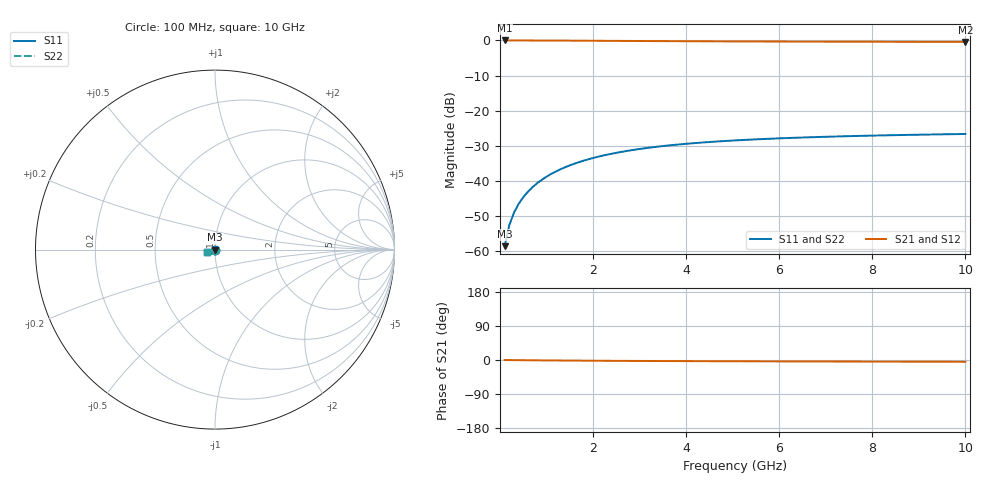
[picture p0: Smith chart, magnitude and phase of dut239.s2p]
! Touchstone file exported from HFSS 2024.1.0
!  File:  C:/UserFiles/LocalFiles/RDL_TSV_Batchsim/temp_TSV1_239_1779389405.aedt
!  Generated:  02:55:30 AM May 22, 2026
!  Design:  TSV1
!  Project:  temp_TSV1_239_1779389405
!  Setup:  Setup1
!  Solution:  Sweep
! Variables:
!  dtsv = 9.84um
!  hbump = 3um
!  htsv = 74.32um
!  lrdl = 252.1521522um
!  p = 40
!  p1 = 40.26um
!  t = 500um
!  trdl = 3um
!  wrdl = 24.89489489um
# GHz S MA R 50.000000
! Terminal data exported
! Port[1] = TSV22_T1
! Port[2] = TSV22_T2
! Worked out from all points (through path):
!   100 points, 100 MHz to 10 GHz, reference 50 ohm
!   highest |S21| = 0.00 dB at 100 MHz (marker M1); lowest = -0.4 dB at 10 GHz (marker M2)
!   lowest |S11| = -58.5 dB at 100 MHz (marker M3), VSWR 1.00, Z = 50 - j0.118 ohm
!   |S11| at or under -10 dB: start of sweep to end of sweep
!   |S22| runs from -58.5 to -26.6 dB; largest |S21 - S12| = 1.5e-14
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0.1  0.001183 -84.4  0.9998 -0.1  0.9998 -0.1  0.001183 -84.4
! Gamma 0 0 0 0
! Port Impedance 50 0 50 0
0.2  0.002356 -89.2  0.9997 -0.2  0.9997 -0.2  0.002356 -89.2
0.3  0.003533 -91.8  0.9995 -0.3  0.9995 -0.3  0.003533 -91.8
0.4  0.004708 -93.8  0.9993 -0.4  0.9993 -0.4  0.004708 -93.8
0.5  0.005876 -95.7  0.999 -0.5  0.999 -0.5  0.005876 -95.7
0.6  0.007035 -97.4  0.9987 -0.6  0.9987 -0.6  0.007035 -97.4
0.7  0.00818 -99.1  0.9983 -0.8  0.9983 -0.8  0.00818 -99.1
0.8  0.00931 -100.7  0.9978 -0.9  0.9978 -0.9  0.00931 -100.7
0.9  0.01042 -102.2  0.9974 -1.0  0.9974 -1.0  0.01042 -102.2
1.1  0.0126 -105.2  0.9962 -1.1  0.9962 -1.1  0.0126 -105.2
1.4  0.01569 -109.5  0.9943 -1.4  0.9943 -1.4  0.01569 -109.5
1.6  0.01764 -112.2  0.9929 -1.6  0.9929 -1.6  0.01764 -112.2
1.8  0.0195 -114.8  0.9914 -1.7  0.9914 -1.7  0.0195 -114.8
2.1  0.02209 -118.5  0.9891 -2.0  0.9891 -2.0  0.02209 -118.5
2.5  0.0252 -123.0  0.9859 -2.2  0.9859 -2.2  0.0252 -123.0
2.9  0.02793 -127.2  0.9828 -2.5  0.9828 -2.5  0.02793 -127.2
3.4  0.03088 -131.9  0.9791 -2.7  0.9791 -2.7  0.03088 -131.9
4.2  0.03469 -138.3  0.9738 -3.0  0.9738 -3.0  0.03469 -138.3
5.1  0.03796 -144.4  0.9688 -3.4  0.9688 -3.4  0.03796 -144.4
6.7  0.04201 -152.8  0.9622 -3.8  0.9622 -3.8  0.04201 -152.8
8.4  0.04483 -159.7  0.9572 -4.3  0.9572 -4.3  0.04483 -159.7
10  0.04668 -165.0  0.954 -4.8  0.954 -4.8  0.04668 -165.0
